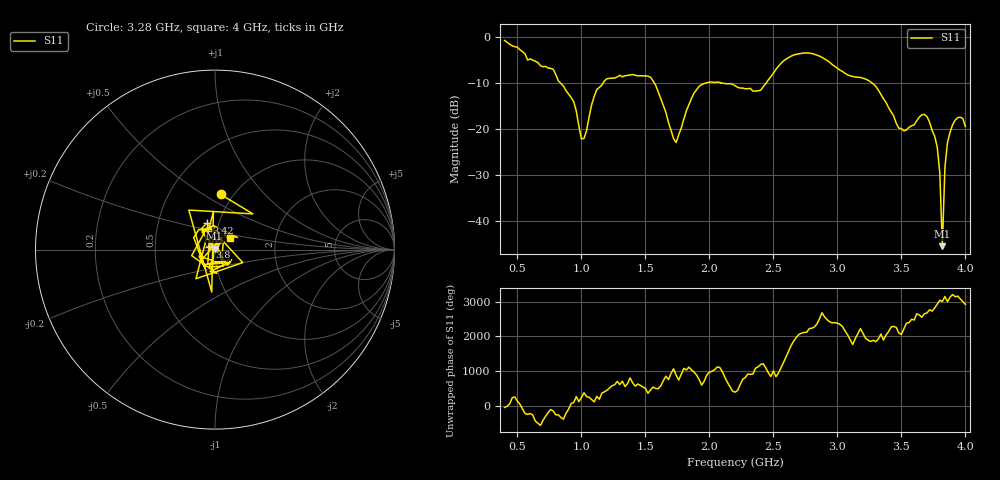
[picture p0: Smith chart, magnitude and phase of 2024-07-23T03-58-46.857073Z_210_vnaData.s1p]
!Created with skrf (http://scikit-rf.org).
# Hz S RI R 50.0
!freq ReS11 ImS11
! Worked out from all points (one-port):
!   181 points, 400 MHz to 4 GHz, reference 50 ohm
!   lowest |S11| = -45.4 dB at 3.82 GHz (marker M1), VSWR 1.01, Z = 49.7 + j0.46 ohm
!   |S11| at or under -10 dB: 1.569 GHz to 1.976 GHz (406.7 MHz wide, 22.9 % of centre); 2.093 GHz to 2.444 GHz (350.9 MHz wide, 15.5 % of centre); 3.27 GHz to end of sweep (the widest 3 of 4)
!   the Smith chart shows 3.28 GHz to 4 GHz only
!   S11 on the Smith chart (normalised r, x): 3.28 GHz: 0.88, +0.60; 3.42 GHz: 0.88, +0.26; 3.8 GHz: 0.94, +0.02; 4 GHz: 1.18, +0.15
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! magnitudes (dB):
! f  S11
! 400 MHz  -0.8
! 780 MHz  -7.0
! 860 MHz  -10.7
! 940 MHz  -14.1
! 1 GHz  -22.1
! 1.02 GHz  -22.1
! 1.12 GHz  -11.5
! 1.3 GHz  -8.3
! 1.54 GHz  -8.8
! 1.72 GHz  -22.1
! 1.76 GHz  -21.3
! 1.92 GHz  -10.7
! 2.2 GHz  -10.6
! 2.4 GHz  -11.6
! 2.66 GHz  -3.9
! 3.1 GHz  -8.5
! 3.28 GHz  -10.2
! 3.42 GHz  -16.3
! 3.48 GHz  -19.8
! 3.56 GHz  -19.6
! 3.7 GHz  -17.3
! 3.78 GHz  -23.9
! 3.8 GHz  -29.5
! 3.82 GHz  -45.4
! 3.84 GHz  -28.3
! 3.86 GHz  -22.9
! 3.94 GHz  -17.5
! 4 GHz  -19.5
